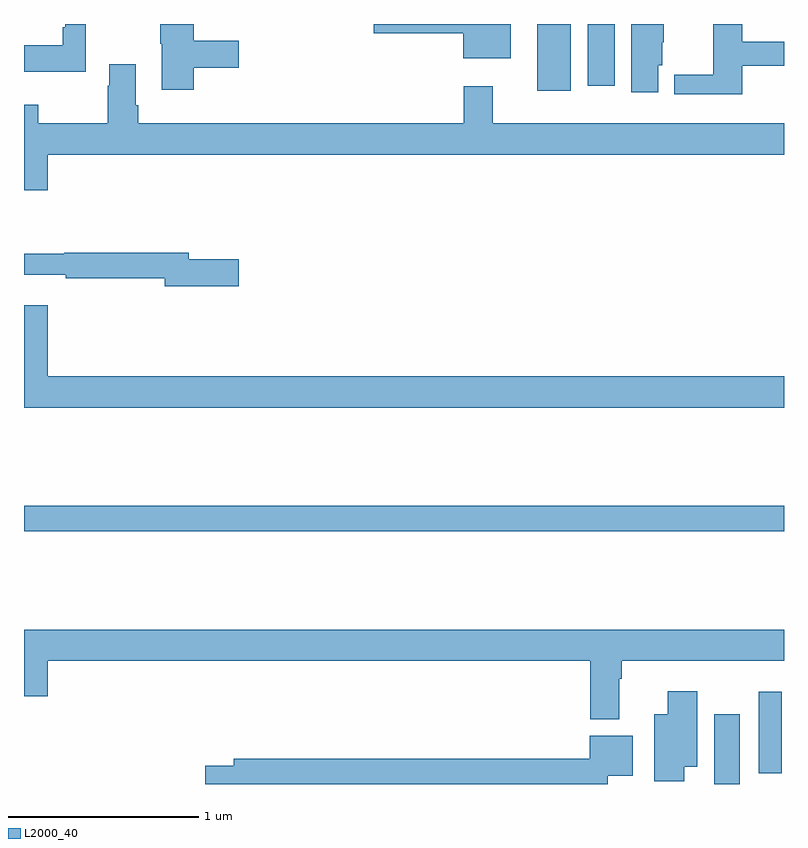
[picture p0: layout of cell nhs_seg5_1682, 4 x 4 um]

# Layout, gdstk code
import gdstk
lib = gdstk.Library(unit=1e-6, precision=1e-09)
def R(c, l, rs):  # rectangles x0, y0, x1, y1
    for r in rs: c.add(gdstk.rectangle(r[:2], r[2:], *l))
def P(c, l, *ps):  # polygons
    for p in ps: c.add(gdstk.Polygon(p, *l))
L2000_40 = (2000, 40)

nhs_seg5_1682 = lib.new_cell('nhs_seg5_1682')
R(nhs_seg5_1682, L2000_40, [(216.632,834.799,216.766,835.165), (216.866,834.855,216.988,835.285), (213,836.128,217,836.264), (215.702,838.448,215.878,838.799), (215.966,838.473,216.109,838.799)])
P(nhs_seg5_1682, L2000_40, [(213.893,838.57),(214.129,838.57),(214.129,838.712),(213.893,838.712),(213.893,838.799),(213.718,838.799),(213.718,838.695),(213.725,838.695),(213.725,838.452),(213.893,838.452)],
  [(216.779,838.578),(217,838.578),(217,838.706),(216.779,838.706),(216.779,838.799),(216.628,838.799),(216.628,838.532),(216.423,838.532),(216.423,838.43),(216.779,838.43)],
  [(215.563,838.799),(214.842,838.799),(214.842,838.75),(215.312,838.75),(215.312,838.619),(215.563,838.619)],
  [(213.325,838.799),(213.216,838.799),(213.216,838.783),(213.204,838.783),(213.204,838.687),(213,838.687),(213,838.547),(213.325,838.547)],
  [(216.337,838.581),(216.358,838.581),(216.358,838.704),(216.367,838.704),(216.367,838.799),(216.197,838.799),(216.197,838.44),(216.337,838.44)],
  [(213.124,838.112),(217,838.112),(217,838.276),(215.467,838.276),(215.467,838.471),(215.315,838.471),(215.315,838.276),(213.602,838.276),(213.602,838.372),(213.589,838.372),(213.589,838.588),(213.449,838.588),(213.449,838.475),(213.442,838.475),(213.442,838.276),(213.075,838.276),(213.075,838.375),(213,838.375),(213,837.924),(213.124,837.924)],
  [(214.129,837.56),(213.868,837.56),(213.868,837.596),(213.213,837.596),(213.213,837.589),(213,837.589),(213,837.479),(213.22,837.479),(213.22,837.46),(213.74,837.46),(213.74,837.418),(214.129,837.418)],
  [(217,836.944),(213.124,836.944),(213.124,837.319),(213,837.319),(213,836.78),(217,836.78)],
  [(216.133,835.352),(216.146,835.352),(216.146,835.448),(217,835.448),(217,835.612),(213,835.612),(213,835.26),(213.124,835.26),(213.124,835.448),(215.981,835.448),(215.981,835.139),(216.133,835.139)],
  [(216.475,834.89),(216.544,834.89),(216.544,835.288),(216.389,835.288),(216.389,835.165),(216.317,835.165),(216.317,834.813),(216.475,834.813)],
  [(216.072,834.842),(216.205,834.842),(216.205,835.054),(215.978,835.054),(215.978,834.932),(214.103,834.932),(214.103,834.896),(213.954,834.896),(213.954,834.799),(216.072,834.799)])

lib.write_gds('nhs_seg5_1682.gds')
